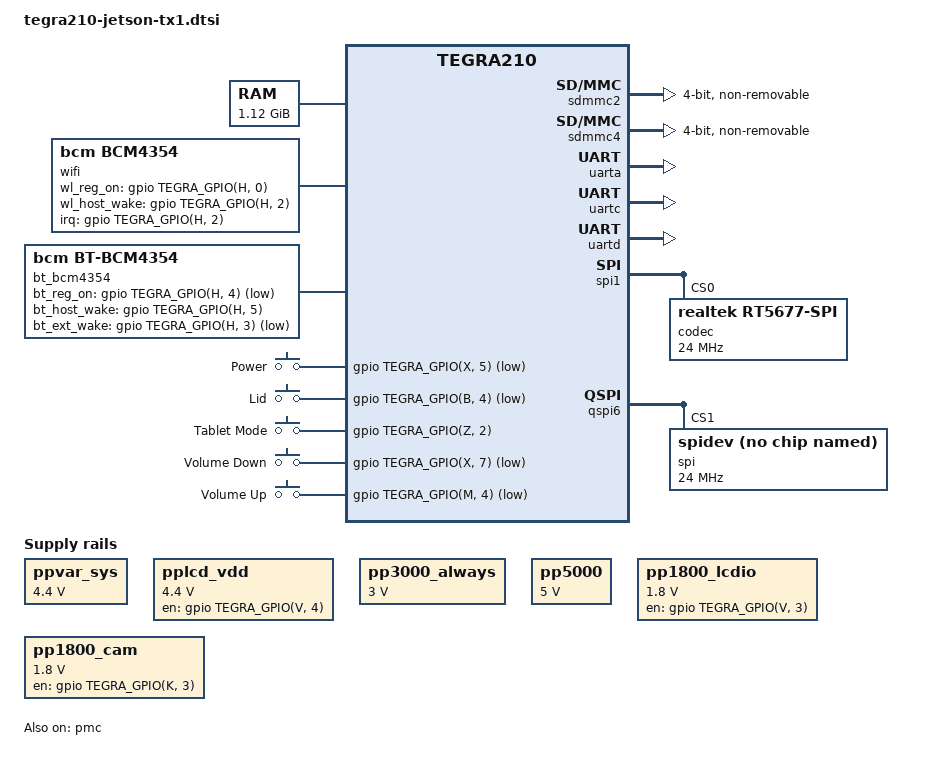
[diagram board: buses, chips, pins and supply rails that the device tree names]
#include <dt-bindings/gpio/tegra-gpio.h>
#include <dt-bindings/pinctrl/pinctrl-tegra.h>
#include <dt-bindings/thermal/thermal.h>
#include <dt-bindings/input/input.h>
#include <dt-bindings/regulator/max8973.h>
#include <dt-bindings/soc/tegra-pmc.h>

#include "tegra210.dtsi"
#include "tegra210-audio.dtsi"
#include "tegra210-smaug-pinmux.dtsi"

/ {
	compatible = "google,smaug", "nvidia,tegra210";

  chosen {
	};

	memory {
		device_type = "memory";
		/* TODO: replace */
		reg = < 0x0 0x80000000 0x0 0x7660000 >,
		      < 0x1 0x00000000 0x0 0x40000000 >;
	};


	wifi: wifi_bcm4354 {
		compatible = "bcm,bcm4354";
		interrupt-parent = <&gpio>;
		interrupts = <TEGRA_GPIO(H, 2) IRQ_TYPE_LEVEL_HIGH>;
		wl_reg_on = <&gpio TEGRA_GPIO(H, 0) 0>;
		wl_host_wake = <&gpio TEGRA_GPIO(H, 2) IRQ_TYPE_LEVEL_HIGH>;
		nvidia,pmc-wakeup = <&pmc
			PMC_WAKE_TYPE_EVENT 8 PMC_TRIGGER_TYPE_HIGH>;
	};

	bt_bcm4354 {
		compatible = "bcm,bt-bcm4354";
		bt_reg_on-gpios = <&gpio TEGRA_GPIO(H, 4) GPIO_ACTIVE_LOW>;
		bt_host_wake-gpios = <&gpio TEGRA_GPIO(H, 5) GPIO_ACTIVE_HIGH>;
		bt_ext_wake-gpios = <&gpio TEGRA_GPIO(H, 3) GPIO_ACTIVE_LOW>;
		nvidia,pmc-wakeup = <&pmc
				PMC_WAKE_TYPE_EVENT 52 PMC_TRIGGER_TYPE_HIGH>;
	};

	gpio-keys {
		compatible = "gpio-keys";
		gpio-keys,name = "gpio-keys";

		power {
			label = "Power";
			gpios = <&gpio TEGRA_GPIO(X, 5) GPIO_ACTIVE_LOW>;
			linux,code = <KEY_POWER>;
			debounce-interval = <30>;
			gpio-key,wakeup;
			nvidia,pmc-wakeup = <&pmc
				PMC_WAKE_TYPE_GPIO 24 PMC_TRIGGER_TYPE_NONE>;
		};

		lid {
			label = "Lid";
			gpios = <&gpio TEGRA_GPIO(B, 4) GPIO_ACTIVE_LOW>;
			linux,input-type = <5>; /* EV_SW */
			linux,code = <0>; /* SW_LID */
			gpio-key,wakeup;
			nvidia,pmc-wakeup = <&pmc
				PMC_WAKE_TYPE_GPIO 3 PMC_TRIGGER_TYPE_NONE>;
		};

		tablet_mode {
			label = "Tablet Mode";
			gpios = <&gpio TEGRA_GPIO(Z, 2) GPIO_ACTIVE_HIGH>;
			linux,input-type = <5>; /* EV_SW */
			linux,code = <1>; /* SW_TABLET_MODE */
			gpio-key,wakeup;
			nvidia,pmc-wakeup = <&pmc
				PMC_WAKE_TYPE_GPIO 36 PMC_TRIGGER_TYPE_NONE>;
		};

		volume_down {
			label = "Volume Down";
			gpios = <&gpio TEGRA_GPIO(X, 7) GPIO_ACTIVE_LOW>;
			linux,code = <KEY_VOLUMEDOWN>;
		};

		volume_up {
			label = "Volume Up";
			gpios = <&gpio TEGRA_GPIO(M, 4) GPIO_ACTIVE_LOW>;
			linux,code = <KEY_VOLUMEUP>;
		};
	};

	regulators {
		compatible = "simple-bus";
		device_type = "fixed-regulators";
		#address-cells = <1>;
		#size-cells = <0>;

		ppvar_sys: regulator@0 {
			compatible = "regulator-fixed";
			reg = <0>;
			regulator-name = "PPVAR_SYS";
			regulator-min-microvolt = <4400000>;
			regulator-max-microvolt = <4400000>;
			regulator-always-on;
		};

		pplcd_vdd: regulator@1 {
			compatible = "regulator-fixed";
			reg = <1>;
			regulator-name = "PPLCD_VDD";
			regulator-min-microvolt = <4400000>;
			regulator-max-microvolt = <4400000>;
			gpio = <&gpio TEGRA_GPIO(V, 4) 0>;
			enable-active-high;
			regulator-boot-on;
		};

		pp3000_always: regulator@2 {
			compatible = "regulator-fixed";
			reg = <2>;
			regulator-name = "PP3000_ALWAYS";
			regulator-min-microvolt = <3000000>;
			regulator-max-microvolt = <3000000>;
			regulator-always-on;
		};

		pp5000: regulator@4 {
			compatible = "regulator-fixed";
			reg = <4>;
			regulator-name = "PP5000";
			regulator-min-microvolt = <5000000>;
			regulator-max-microvolt = <5000000>;
			regulator-always-on;
		};

		pp1800_lcdio: regulator@5 {
			compatible = "regulator-fixed";
			reg = <5>;
			regulator-name = "PP1800_LCDIO";
			regulator-min-microvolt = <1800000>;
			regulator-max-microvolt = <1800000>;
			gpio = <&gpio TEGRA_GPIO(V, 3) 0>;
			enable-active-high;
			regulator-boot-on;
		};

		pp1800_cam: regulator@6 {
			compatible = "regulator-fixed";
			reg= <6>;
			regulator-name = "PP1800_CAM";
			regulator-min-microvolt = <1800000>;
			regulator-max-microvolt = <1800000>;
			gpio = <&gpio TEGRA_GPIO(K, 3) 0>;
			enable-active-high;
		};
	};
};


&sdmmc2 {
	power-gpios = <&gpio TEGRA_GPIO(H, 0) GPIO_ACTIVE_HIGH>;
	bus-width = <4>;
	keep-power-in-suspend;
	non-removable;
	nvidia,pu-1v8-offset = <0x05>;
	nvidia,pd-1v8-offset = <0x05>;
	nvidia,trim-delay = <8>;
	nvidia,tap-delay = <0>;
	status = "okay";
};

&sdmmc4 {
	bus-width = <4>;
	non-removable;
	status = "okay";
};

&uarta {
	status = "okay";
};


&uartc {
	compatible = "nvidia,tegra210-hsuart", "nvidia,tegra30-hsuart";
	status = "okay";
};

&uartd {
	compatible = "nvidia,tegra124-hsuart", "nvidia,tegra30-hsuart";
	status = "okay";
};

&pmc {
	status = "okay";
	nvidia,invert-interrupt;
	nvidia,suspend-mode = <0>;
	nvidia,cpu-pwr-good-time = <0>;
	nvidia,cpu-pwr-off-time = <0>;
	nvidia,core-pwr-good-time = <12000 6000>;
	nvidia,core-pwr-off-time = <39053>;
	nvidia,core-power-req-active-high;
	nvidia,sys-clock-req-active-high;
	nvidia,pmc-clk1-out-en;
	nvidia,pmc-clk1-out-src = <PMC_CLK_OUT_SRC_OSC_DIV_2>;
	#nvidia,wake-cells = <3>;

	bootrom-i2c {
		command-block-0 {
			nvidia,i2c-controller-id = <4>;
			nvidia,pinmux-id = <0>;
			nvidia,bus-addr = <0x3c>;
			/* Set PPVAR_SOC to 1.0V */
			nvidia,reg-addr = <0x16>, <0x1b>;
			nvidia,reg-data = <0x20>, <0x20>;
		};
		command-block-1 {
			nvidia,i2c-controller-id = <4>;
			nvidia,pinmux-id = <0>;
			nvidia,bus-addr = <0x68>;
			/* Set RTCSECA2 to 0x1 to indicate a warm boot */
			nvidia,reg-addr = <0x15>, <0x04>;
			nvidia,reg-data = <0x01>, <0x0b>;
		};
	};
};

&spi1 {
	status = "okay";
	codec@0 {
		compatible = "realtek,rt5677-spi";
		reg = <0>;
		spi-max-frequency = <24000000>;
	};
};

&qspi6 {
	status = "okay";
	spi@0 {
		compatible = "spidev";
		reg = <1>;
		spi-max-frequency = <24000000>;

		controller-data {
			nvidia,x1-len-limit = <16>;
			nvidia,x1-bus-speed = <24000000>;
			nvidia,x1-dummy-cycle = <0>;
			nvidia,x4-bus-speed = <24000000>;
			nvidia,x4-dummy-cycle = <8>;
		};
	};
};
